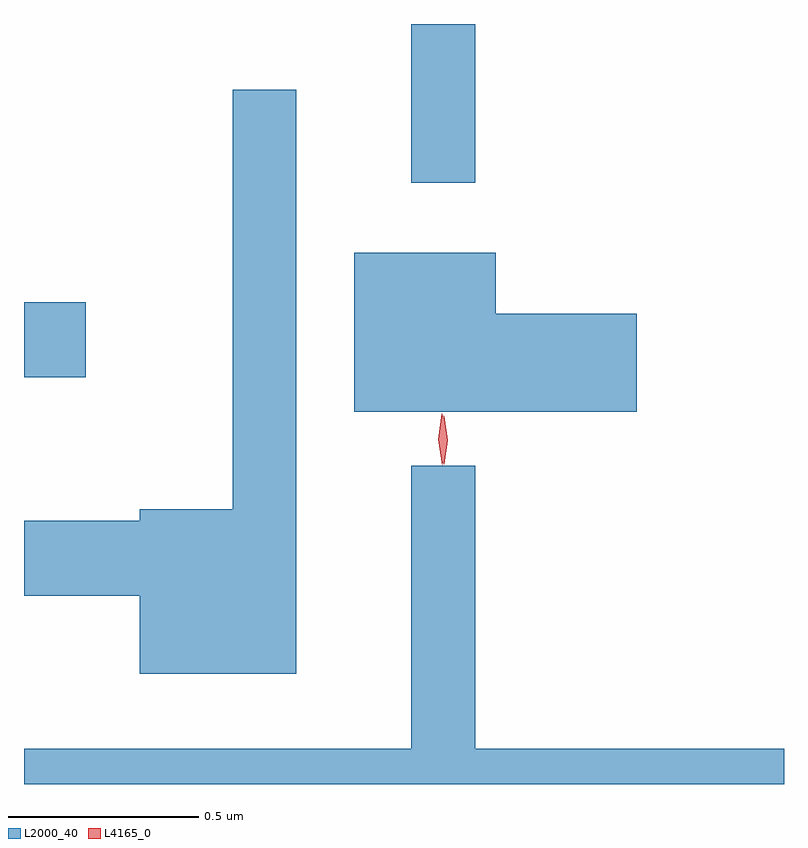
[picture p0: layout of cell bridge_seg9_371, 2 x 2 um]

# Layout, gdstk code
import gdstk
lib = gdstk.Library(unit=1e-6, precision=1e-09)
def R(c, l, rs):  # rectangles x0, y0, x1, y1
    for r in rs: c.add(gdstk.rectangle(r[:2], r[2:], *l))
def P(c, l, *ps):  # polygons
    for p in ps: c.add(gdstk.Polygon(p, *l))
L2000_40 = (2000, 40)
L4165_0 = (4165, 0)

bridge_seg9_371 = lib.new_cell('bridge_seg9_371')
R(bridge_seg9_371, L2000_40, [(728.182,1999.721,728.344,1999.919), (729.201,2000.233,729.369,2000.651)])
P(bridge_seg9_371, L2000_40, [(728.899,2000.478),(728.731,2000.478),(728.731,1999.374),(728.486,1999.374),(728.486,1999.344),(728.182,1999.344),(728.182,1999.146),(728.486,1999.146),(728.486,1998.941),(728.899,1998.941)],
  [(729.794,1999.889),(729.424,1999.889),(729.424,2000.049),(729.051,2000.049),(729.051,1999.631),(729.794,1999.631)],
  [(730.182,1998.744),(729.369,1998.744),(729.369,1999.488),(729.201,1999.488),(729.201,1998.744),(728.182,1998.744),(728.182,1998.651),(730.182,1998.651)])
P(bridge_seg9_371, L4165_0, [(729.287,1999.493),(729.287,1999.493),(729.278,1999.556),(729.287,1999.619),(729.287,1999.62),(729.288,1999.619),(729.297,1999.556),(729.288,1999.493)],
  [(729.282,1999.49),(729.282,1999.49),(729.272,1999.558),(729.281,1999.625),(729.281,1999.626),(729.282,1999.625),(729.292,1999.558),(729.283,1999.49)])

lib.write_gds('bridge_seg9_371.gds')
